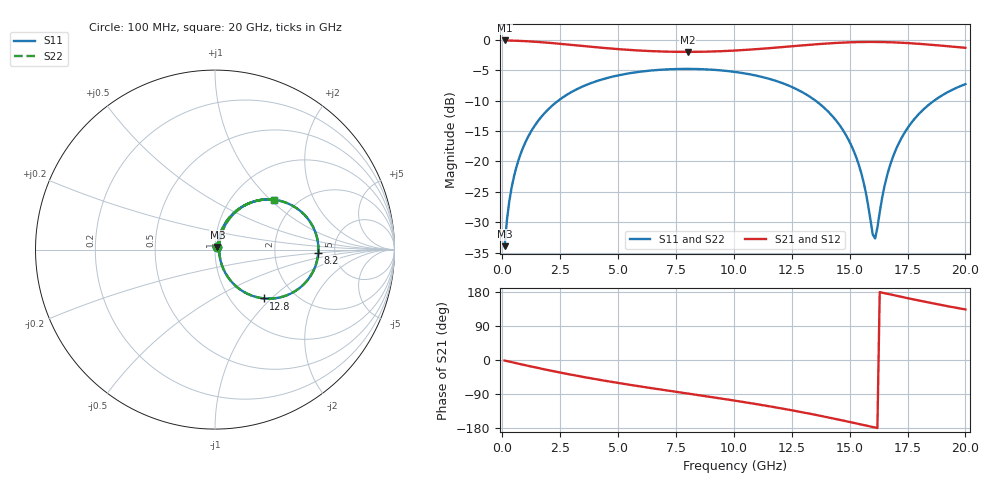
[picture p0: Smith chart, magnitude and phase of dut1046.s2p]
! Touchstone file exported from HFSS 2026.1.0
!  File:  C:/ffzhzh/LocalFiles/Ansys_Project_Files/temp_train_TSV_RDL_1046_1783296135_39728.aedt
!  Generated:  08:14:23 AM Jul  6, 2026
!  Design:  TSV_RDL
!  Project:  temp_train_TSV_RDL_1046_1783296135_39728
! Variables:
!  h_bsmrdl = 5.96um
!  h_ox = 20um
!  h_rdl = 5um
!  h_sub = 88.45um
!  h_tmrdl = 5um
!  h_tsv = 88.45um
!  h_via = 3um
!  l_bsmrdl = 609.38um
!  l_sub = 3673.48um
!  l_tmrdl = 334.26um
!  m_sub = 200um
!  pitch = 52.66um
!  r_tsv = 7.56um
!  s_tmrdl = 10um
!  w_bsmrdl = 17.32um
!  w_sub = 500um
!  w_tmrdl = 18.78um
!  x_tsv_center1 = 343.65um
!  x_tsv_center2 = 970.35um
!  x_tsv_center3 = 1323.39um
!  x_tsv_center4 = 1950.09um
!  x_tsv_center5 = 2303.13um
!  x_tsv_center6 = 2929.83um
# GHz S MA R 50.000000
! Terminal data exported
! Port[1] = TM_RDL1_1_T1
! Port[2] = TM_RDL5_1_T1
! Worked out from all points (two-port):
!   200 points, 100 MHz to 20 GHz, reference 50 ohm
!   highest |S21| = -0.12 dB at 100 MHz (marker M1); lowest = -2.0 dB at 8 GHz (marker M2)
!   |S21| within 3 dB of the highest: start of sweep to end of sweep
!   lowest |S11| = -33.9 dB at 100 MHz (marker M3), VSWR 1.04, Z = 51.3 + j1.53 ohm
!   |S11| at or under -10 dB: start of sweep to 2.423 GHz; 13.52 GHz to 18.66 GHz (5.134 GHz wide, 31.9 % of centre)
!   |S22| runs from -33.9 to -4.8 dB; largest |S21 - S12| = 2.3e-14
!   S11 on the Smith chart (normalised r, x): 100 MHz: 1.03, +0.03; 8.2 GHz: 3.70, -0.18; 12.8 GHz: 1.41, -0.90; 20 GHz: 1.54, +1.06
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0.1  0.02008 47.8  0.9868 -1.4  0.9868 -1.4  0.02008 47.8
! Gamma 0 0 0 0
! Port Impedance 50 0 50 0
0.3  0.0466 68.3  0.985 -4.2  0.985 -4.2  0.0466 68.3
0.5  0.07453 71.7  0.9827 -7.0  0.9827 -7.0  0.07453 71.7
1.1  0.1572 68.9  0.9715 -15.2  0.9715 -15.2  0.1572 68.9
2.1  0.281 57.9  0.9408 -28.2  0.9408 -28.2  0.281 57.9
3.5  0.4152 42.3  0.8878 -44.8  0.8878 -44.8  0.4152 42.3
6.8  0.566 10.6  0.8014 -77.6  0.8014 -77.6  0.566 10.6
8  0.576 0.1  0.7947 -88.4  0.7947 -88.4  0.576 0.1
8.2  0.5756 -1.6  0.7949 -90.2  0.7949 -90.2  0.5756 -1.6
10.1  0.5421 -18.5  0.8165 -107.8  0.8165 -107.8  0.5421 -18.5
12.8  0.3845 -45.0  0.8936 -136.1  0.8936 -136.1  0.3845 -45.0
13.4  0.3286 -51.3  0.9131 -143.2  0.9131 -143.2  0.3286 -51.3
14.4  0.2186 -61.5  0.941 -155.7  0.941 -155.7  0.2187 -61.5
15.1  0.1318 -66.5  0.9541 -164.8  0.9541 -164.8  0.1319 -66.4
15.6  0.0678 -63.2  0.9589 -171.5  0.9589 -171.5  0.06786 -63.1
16  0.02504 -21.7  0.9597 -176.9  0.9597 -176.9  0.02519 -21.6
16.1  0.02323 9.1  0.9595 -178.2  0.9595 -178.2  0.02339 9.1
16.4  0.04954 58.9  0.9578 177.8  0.9578 177.8  0.04961 58.7
16.7  0.08694 67.3  0.9546 173.8  0.9546 173.8  0.08698 67.2
17.2  0.1505 67.3  0.9461 167.1  0.9461 167.1  0.1505 67.3
17.9  0.2349 61.7  0.9286 158.1  0.9286 158.1  0.2349 61.7
20  0.4314 40.3  0.8587 133.5  0.8587 133.5  0.4314 40.2
